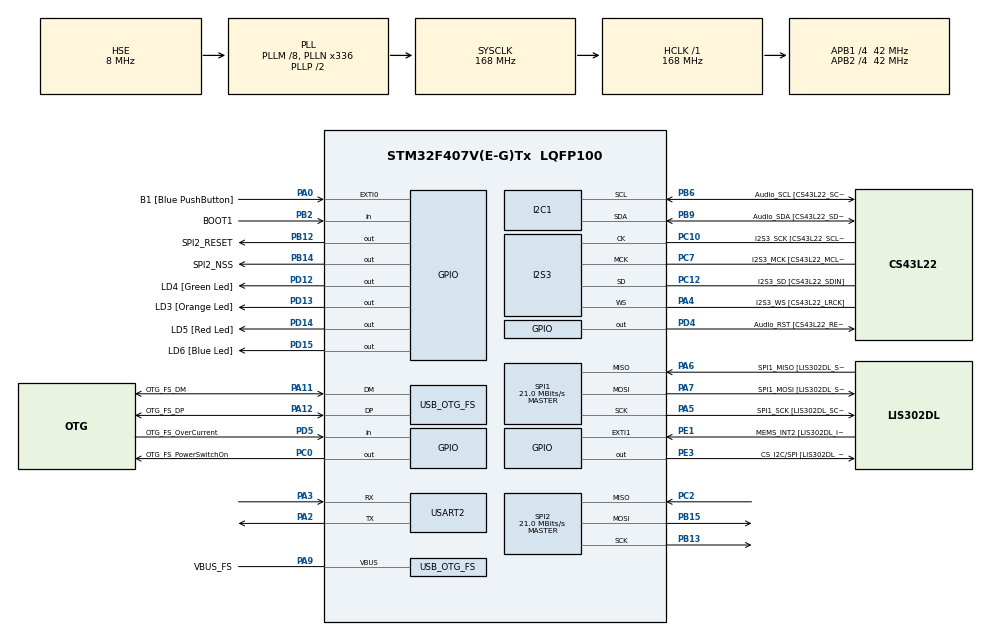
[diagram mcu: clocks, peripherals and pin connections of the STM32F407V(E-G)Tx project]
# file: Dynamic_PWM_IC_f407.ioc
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Dma.Request0=USART2_RX
Dma.USART2_RX.0.Direction=DMA_PERIPH_TO_MEMORY
Dma.USART2_RX.0.FIFOMode=DMA_FIFOMODE_DISABLE
Dma.USART2_RX.0.Instance=DMA1_Stream5
Dma.USART2_RX.0.MemDataAlignment=DMA_MDATAALIGN_BYTE
Dma.USART2_RX.0.MemInc=DMA_MINC_ENABLE
Dma.USART2_RX.0.Mode=DMA_CIRCULAR
Dma.USART2_RX.0.PeriphDataAlignment=DMA_PDATAALIGN_BYTE
Dma.USART2_RX.0.PeriphInc=DMA_PINC_DISABLE
Dma.USART2_RX.0.Priority=DMA_PRIORITY_LOW
I2S3.AudioFreq-Half_Duplex_Master=I2S_AUDIOFREQ_96K
I2S3.ErrorAudioFreq=-2.34 %
I2S3.ErrorAudioFreq-Half_Duplex_Master=0.8 %
I2S3.FullDuplexMode=I2S_FULLDUPLEXMODE_DISABLE
I2S3.Instance=SPI$Index
I2S3.RealAudioFreq=93.75 KHz
I2S3.RealAudioFreq-Half_Duplex_Master=96.774 KHz
I2S3.VirtualMode=I2S_MODE_MASTER
Mcu.Family=STM32F4
Mcu.Name=STM32F407V(E-G)Tx
Mcu.Package=LQFP100
NVIC.DMA1_Stream5_IRQn=true\:0\:0\:false\:false\:true\:false\:true\:true
NVIC.OTG_FS_IRQn=true\:0\:0\:false\:false\:true\:true\:true\:true
NVIC.PriorityGroup=NVIC_PRIORITYGROUP_0
NVIC.TIM1_BRK_TIM9_IRQn=true\:0\:0\:false\:false\:true\:true\:true\:true
NVIC.TIM1_CC_IRQn=true\:0\:0\:false\:false\:true\:true\:true\:true
NVIC.TIM1_TRG_COM_TIM11_IRQn=true\:0\:0\:false\:false\:true\:true\:true\:true
NVIC.TIM1_UP_TIM10_IRQn=true\:0\:0\:false\:false\:true\:true\:true\:true
NVIC.TIM2_IRQn=true\:0\:0\:false\:false\:true\:true\:true\:true
NVIC.TIM3_IRQn=true\:0\:0\:false\:false\:true\:true\:true\:true
NVIC.TIM4_IRQn=true\:0\:0\:false\:false\:true\:true\:true\:true
NVIC.TIM5_IRQn=true\:0\:0\:false\:false\:true\:true\:true\:true
NVIC.TIM8_BRK_TIM12_IRQn=true\:0\:0\:false\:false\:true\:true\:true\:true
NVIC.TIM8_CC_IRQn=true\:0\:0\:false\:false\:true\:true\:true\:true
NVIC.TIM8_TRG_COM_TIM14_IRQn=true\:0\:0\:false\:false\:true\:true\:true\:true
NVIC.TIM8_UP_TIM13_IRQn=true\:0\:0\:false\:false\:true\:true\:true\:true
NVIC.USART2_IRQn=true\:0\:0\:false\:false\:true\:true\:true\:true
PA0-WKUP.GPIO_Label=B1 [Blue PushButton]
PA0-WKUP.GPIO_ModeDefaultEXTI=GPIO_MODE_EVT_RISING
PA0-WKUP.GPIO_PuPd=GPIO_NOPULL
PA0-WKUP.Signal=GPXTI0
PA10.GPIO_Label=OTG_FS_ID
PA10.GPIO_Mode=GPIO_MODE_AF_PP
PA10.GPIO_PuPd=GPIO_NOPULL
PA10.GPIO_Speed=GPIO_SPEED_FREQ_LOW
PA10.Signal=USB_OTG_FS_ID
PA11.GPIO_Label=OTG_FS_DM
PA11.GPIO_Mode=GPIO_MODE_AF_PP
PA11.GPIO_PuPd=GPIO_NOPULL
PA11.GPIO_Speed=GPIO_SPEED_FREQ_LOW
PA11.Mode=Device_Only
PA11.Signal=USB_OTG_FS_DM
PA12.GPIO_Label=OTG_FS_DP
PA12.GPIO_Mode=GPIO_MODE_AF_PP
PA12.GPIO_PuPd=GPIO_NOPULL
PA12.GPIO_Speed=GPIO_SPEED_FREQ_LOW
PA12.Mode=Device_Only
PA12.Signal=USB_OTG_FS_DP
PA13.GPIO_Label=SWDIO
PA13.Mode=Serial_Wire
PA13.Signal=SYS_JTMS-SWDIO
PA14.GPIO_Label=SWCLK
PA14.Mode=Serial_Wire
PA14.Signal=SYS_JTCK-SWCLK
PA2.Mode=Asynchronous
PA2.Signal=USART2_TX
PA3.Mode=Asynchronous
PA3.Signal=USART2_RX
PA4.GPIO_Label=I2S3_WS [CS43L22_LRCK]
PA4.GPIO_Mode=GPIO_MODE_AF_PP
PA4.GPIO_PuPd=GPIO_NOPULL
PA4.GPIO_Speed=GPIO_SPEED_FREQ_LOW
PA4.Mode=Half_Duplex_Master
PA4.Signal=I2S3_WS
PA5.GPIO_Label=SPI1_SCK [LIS302DL_SCL/SPC]
PA5.GPIO_Mode=GPIO_MODE_AF_PP
PA5.GPIO_PuPd=GPIO_NOPULL
PA5.GPIO_Speed=GPIO_SPEED_FREQ_LOW
PA5.Mode=Full_Duplex_Master
PA5.Signal=SPI1_SCK
PA6.GPIO_Label=SPI1_MISO [LIS302DL_SDO]
PA6.GPIO_Mode=GPIO_MODE_AF_PP
PA6.GPIO_PuPd=GPIO_NOPULL
PA6.GPIO_Speed=GPIO_SPEED_FREQ_LOW
PA6.Mode=Full_Duplex_Master
PA6.Signal=SPI1_MISO
PA7.GPIO_Label=SPI1_MOSI [LIS302DL_SDA/SDI/SDO]
PA7.GPIO_Mode=GPIO_MODE_AF_PP
PA7.GPIO_PuPd=GPIO_NOPULL
PA7.GPIO_Speed=GPIO_SPEED_FREQ_LOW
PA7.Mode=Full_Duplex_Master
PA7.Signal=SPI1_MOSI
PA9.GPIO_Label=VBUS_FS
PA9.GPIO_Mode=GPIO_MODE_INPUT
PA9.GPIO_PuPd=GPIO_NOPULL
PA9.Mode=Activate_VBUS
PA9.Signal=USB_OTG_FS_VBUS
PB10.GPIO_Label=CLK_IN [MP45DT02_CLK]
PB10.GPIO_Mode=GPIO_MODE_AF_PP
PB10.GPIO_PuPd=GPIO_NOPULL
PB10.GPIO_Speed=GPIO_SPEED_FREQ_LOW
PB10.Signal=I2S2_CK
PB12.GPIO_Label=SPI2_RESET
PB12.Signal=GPIO_Output
PB13.Mode=Full_Duplex_Master
PB13.Signal=SPI2_SCK
PB14.GPIO_Label=SPI2_NSS
PB14.Signal=GPIO_Output
PB15.Mode=Full_Duplex_Master
PB15.Signal=SPI2_MOSI
PB2.GPIO_Label=BOOT1
PB2.GPIO_Mode=GPIO_MODE_INPUT
PB2.GPIO_PuPd=GPIO_NOPULL
PB2.Signal=GPIO_Input
PB3.GPIO_Label=SWO
PB3.Signal=SYS_JTDO-SWO
PB6.GPIO_Label=Audio_SCL [CS43L22_SCL]
PB6.GPIO_Mode=GPIO_MODE_AF_OD
PB6.GPIO_Pu=GPIO_PULLUP
PB6.GPIO_PuPd=GPIO_NOPULL
PB6.GPIO_Speed=GPIO_SPEED_FREQ_LOW
PB6.Mode=I2C
PB6.Signal=I2C1_SCL
PB9.GPIO_Label=Audio_SDA [CS43L22_SDA]
PB9.GPIO_Mode=GPIO_MODE_AF_OD
PB9.GPIO_Pu=GPIO_PULLUP
PB9.GPIO_PuPd=GPIO_NOPULL
PB9.GPIO_Speed=GPIO_SPEED_FREQ_LOW
PB9.Mode=I2C
PB9.Signal=I2C1_SDA
PC0.GPIO_Label=OTG_FS_PowerSwitchOn
PC0.GPIO_PuPd=GPIO_NOPULL
PC0.GPIO_Speed=GPIO_SPEED_FREQ_LOW
PC0.PinState=GPIO_PIN_SET
PC0.Signal=GPIO_Output
PC10.GPIO_Label=I2S3_SCK [CS43L22_SCLK]
PC10.GPIO_Mode=GPIO_MODE_AF_PP
PC10.GPIO_PuPd=GPIO_NOPULL
PC10.GPIO_Speed=GPIO_SPEED_FREQ_LOW
PC10.Mode=Half_Duplex_Master
PC10.Signal=I2S3_CK
PC12.GPIO_Label=I2S3_SD [CS43L22_SDIN]
PC12.GPIO_Mode=GPIO_MODE_AF_PP
PC12.GPIO_PuPd=GPIO_NOPULL
PC12.GPIO_Speed=GPIO_SPEED_FREQ_LOW
PC12.Mode=Half_Duplex_Master
PC12.Signal=I2S3_SD
PC14-OSC32_IN.GPIO_Label=PC14-OSC32_IN
PC14-OSC32_IN.Mode=LSE-External-Oscillator
PC14-OSC32_IN.Signal=RCC_OSC32_IN
PC15-OSC32_OUT.GPIO_Label=PC15-OSC32_OUT
PC15-OSC32_OUT.Mode=LSE-External-Oscillator
PC15-OSC32_OUT.Signal=RCC_OSC32_OUT
PC2.Mode=Full_Duplex_Master
PC2.Signal=SPI2_MISO
PC3.GPIO_Label=PDM_OUT [MP45DT02_DOUT]
PC3.GPIO_Mode=GPIO_MODE_AF_PP
PC3.GPIO_PuPd=GPIO_NOPULL
PC3.GPIO_Speed=GPIO_SPEED_FREQ_LOW
PC3.Signal=I2S2_SD
PC7.GPIO_Label=I2S3_MCK [CS43L22_MCLK]
PC7.GPIO_Mode=GPIO_MODE_AF_PP
PC7.GPIO_PuPd=GPIO_NOPULL
PC7.GPIO_Speed=GPIO_SPEED_FREQ_LOW
PC7.Mode=Master_Clock_Activated
PC7.Signal=I2S3_MCK
PD12.GPIO_Label=LD4 [Green Led]
PD12.GPIO_PuPd=GPIO_NOPULL
PD12.GPIO_Speed=GPIO_SPEED_FREQ_LOW
PD12.Signal=GPIO_Output
PD13.GPIO_Label=LD3 [Orange Led]
PD13.GPIO_PuPd=GPIO_NOPULL
PD13.GPIO_Speed=GPIO_SPEED_FREQ_LOW
PD13.Signal=GPIO_Output
PD14.GPIO_Label=LD5 [Red Led]
PD14.GPIO_PuPd=GPIO_NOPULL
PD14.GPIO_Speed=GPIO_SPEED_FREQ_LOW
PD14.Signal=GPIO_Output
PD15.GPIO_Label=LD6 [Blue Led]
PD15.GPIO_PuPd=GPIO_NOPULL
PD15.GPIO_Speed=GPIO_SPEED_FREQ_LOW
PD15.Signal=GPIO_Output
PD4.GPIO_Label=Audio_RST [CS43L22_RESET]
PD4.GPIO_PuPd=GPIO_NOPULL
PD4.GPIO_Speed=GPIO_SPEED_FREQ_LOW
PD4.Signal=GPIO_Output
PD5.GPIO_Label=OTG_FS_OverCurrent
PD5.GPIO_Mode=GPIO_MODE_INPUT
PD5.GPIO_PuPd=GPIO_NOPULL
PD5.Signal=GPIO_Input
PE1.GPIO_Label=MEMS_INT2 [LIS302DL_INT2]
PE1.GPIO_ModeDefaultEXTI=GPIO_MODE_EVT_RISING
PE1.GPIO_PuPd=GPIO_NOPULL
PE1.Signal=GPXTI1
PE3.GPIO_Label=CS_I2C/SPI [LIS302DL_CS_I2C/SPI]
PE3.GPIO_PuPd=GPIO_NOPULL
PE3.GPIO_Speed=GPIO_SPEED_FREQ_LOW
PE3.Signal=GPIO_Output
PH0-OSC_IN.GPIO_Label=PH0-OSC_IN
PH0-OSC_IN.Mode=HSE-External-Oscillator
PH0-OSC_IN.Signal=RCC_OSC_IN
PH1-OSC_OUT.GPIO_Label=PH1-OSC_OUT
PH1-OSC_OUT.Mode=HSE-External-Oscillator
PH1-OSC_OUT.Signal=RCC_OSC_OUT
ProjectManager.HeapSize=0x200
ProjectManager.StackSize=0x400
ProjectManager.TargetToolchain=STM32CubeIDE
RCC.48MHZClocksFreq_Value=48000000
RCC.AHBFreq_Value=168000000
RCC.APB1CLKDivider=RCC_HCLK_DIV4
RCC.APB1Freq_Value=42000000
RCC.APB1TimFreq_Value=84000000
RCC.APB2CLKDivider=RCC_HCLK_DIV4
RCC.APB2Freq_Value=42000000
RCC.APB2TimFreq_Value=84000000
RCC.CortexFreq_Value=168000000
RCC.HCLKFreq_Value=168000000
RCC.HSE_VALUE=8000000
RCC.HSI_VALUE=16000000
RCC.PLLM=8
RCC.PLLN=336
RCC.PLLQ=7
RCC.SYSCLKFreq_VALUE=168000000
RCC.SYSCLKSource=RCC_SYSCLKSOURCE_PLLCLK
RCC.VCOOutputFreq_Value=336000000
SPI1.BaudRatePrescaler=SPI_BAUDRATEPRESCALER_2
SPI1.BaudRatePrescaler-Full_Duplex_Master=SPI_BAUDRATEPRESCALER_2
SPI1.CalculateBaudRate=21.0 MBits/s
SPI1.CalculateBaudRate-Full_Duplex_Master=42.0 MBits/s
SPI1.Direction=SPI_DIRECTION_2LINES
SPI1.Mode=SPI_MODE_MASTER
SPI1.Mode-Full_Duplex_Master=SPI_MODE_MASTER
SPI1.VirtualType=VM_MASTER
SPI2.BaudRatePrescaler=SPI_BAUDRATEPRESCALER_2
SPI2.CalculateBaudRate=21.0 MBits/s
SPI2.Direction=SPI_DIRECTION_2LINES
SPI2.Mode=SPI_MODE_MASTER
SPI2.VirtualType=VM_MASTER
USART2.VirtualMode=VM_ASYNC
USB_DEVICE.CLASS_NAME_FS=CDC
USB_DEVICE.VirtualMode-CDC_FS=Cdc
USB_DEVICE.VirtualModeFS=Cdc_FS
USB_OTG_FS.VirtualMode=Device_Only
VP_TIM12_VS_ClockSourceINT.Mode=Internal
VP_TIM1_VS_ClockSourceINT.Mode=Internal
VP_TIM2_VS_ClockSourceINT.Mode=Internal
VP_TIM3_VS_ClockSourceINT.Mode=Internal
VP_TIM4_VS_ClockSourceINT.Mode=Internal
VP_TIM5_VS_ClockSourceINT.Mode=Internal
VP_TIM8_VS_ClockSourceINT.Mode=Internal
VP_TIM9_VS_ClockSourceINT.Mode=Internal
VP_USB_DEVICE_VS_USB_DEVICE_CDC_FS.Mode=CDC_FS
board=STM32F407G-DISC1

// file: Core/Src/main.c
/* USER CODE BEGIN Header */
/**
  ******************************************************************************
  * @file           : main.c
  * @brief          : Main program body
  ******************************************************************************
  * @attention
  *
  * Copyright (c) 2026 STMicroelectronics.
  * All rights reserved.
  *
  * This software is licensed under terms that can be found in the LICENSE file
  * in the root directory of this software component.
  * If no LICENSE file comes with this software, it is provided AS-IS.
  *
  ******************************************************************************
  */
/* USER CODE END Header */
#include "main.h"
#include "usb_device.h"

/* USER CODE BEGIN Includes */
#include "command_handler.h"
#include "wizchip_port.h"
#include "socket.h"
/* USER CODE END Includes */

/* USER CODE BEGIN PD */
#define BUF_SIZE  64
/* USER CODE END PD */

I2C_HandleTypeDef hi2c1;

I2S_HandleTypeDef hi2s3;

SPI_HandleTypeDef hspi1;
SPI_HandleTypeDef hspi2;

TIM_HandleTypeDef htim1;
TIM_HandleTypeDef htim2;
TIM_HandleTypeDef htim3;
TIM_HandleTypeDef htim4;
TIM_HandleTypeDef htim5;
TIM_HandleTypeDef htim8;
TIM_HandleTypeDef htim9;
TIM_HandleTypeDef htim12;

UART_HandleTypeDef huart2;
DMA_HandleTypeDef hdma_usart2_rx;

void SystemClock_Config(void);
static void MX_GPIO_Init(void);
static void MX_DMA_Init(void);
static void MX_I2C1_Init(void);
static void MX_I2S3_Init(void);
static void MX_SPI1_Init(void);
static void MX_SPI2_Init(void);
static void MX_TIM1_Init(void);
static void MX_TIM2_Init(void);
static void MX_TIM3_Init(void);
static void MX_TIM4_Init(void);
static void MX_TIM5_Init(void);
static void MX_TIM8_Init(void);
static void MX_TIM9_Init(void);
static void MX_TIM12_Init(void);
static void MX_USART2_UART_Init(void);

/* USER CODE BEGIN 0 */
uint8_t last_connection_item;

//// USB
uint8_t USB_rx_data[BUF_SIZE];
uint32_t USB_rx_len;

// UART
uint8_t dma_uart2_rx_buf[BUF_SIZE];
uint8_t UART_rx_data[BUF_SIZE];
uint32_t UART_rx_len;

// W5500 UDP
void UDP_Receive_Handler(void);
void UDP_Send_Data(uint8_t *data, uint16_t len);
#define UDP_PORT  8080
uint8_t UDP_buf[BUF_SIZE];
uint16_t UDP_recv_len;
uint8_t UDP_remote_ip[4];
uint16_t UDP_remote_port;

// PWM variables
TIM_HandleTypeDef *last_PWM_htim;
uint32_t last_PWM_TIM_CHANNEL;
GPIO_TypeDef *last_PWM_GPIO_Port;
uint32_t last_PWM_Pin;
uint8_t last_PWM_Pinout;
uint8_t last_PWM_usetim;

// IC variables
TIM_HandleTypeDef *last_IC_htim;
uint32_t last_IC_TIM_CHANNEL;
GPIO_TypeDef *last_IC_GPIO_Port;
uint32_t last_IC_Pin;
uint8_t last_IC_Pinout;

// IC parameters
uint32_t IC_measure_buf[100];
uint8_t IC_measure_cnt=0;
uint8_t IC_avg = 1;
uint8_t IC_filter=0;	// 	none = 0, mean = 1, median = 2, min = 3, max = 4, Unknown = 5
uint16_t IC_timeout = 1000;

// debug
void print_UART2(const char *str){
	uint16_t len = (uint16_t) strlen(str);
	HAL_UART_Transmit(&huart2, (uint8_t*)str, len, 10);
}
/* USER CODE END 0 */

int main(void)
{

  /* MCU Configuration--------------------------------------------------------*/

  /* Reset of all peripherals, Initializes the Flash interface and the Systick. */
  HAL_Init();

  /* Configure the system clock */
  SystemClock_Config();

  /* Initialize all configured peripherals */
  MX_GPIO_Init();
  MX_DMA_Init();
  MX_I2C1_Init();
  MX_I2S3_Init();
  MX_SPI1_Init();
  MX_SPI2_Init();
  MX_TIM1_Init();
  MX_TIM2_Init();
  MX_TIM3_Init();
  MX_TIM4_Init();
  MX_TIM5_Init();
  MX_TIM8_Init();
  MX_TIM9_Init();
  MX_TIM12_Init();
  MX_USART2_UART_Init();
  MX_USB_DEVICE_Init();
  /* USER CODE BEGIN 2 */
  //Enable UART Interrupt for detect ending package receive
  __HAL_UART_ENABLE_IT(&huart2, UART_IT_IDLE);
  HAL_UART_Receive_DMA(&huart2, dma_uart2_rx_buf, BUF_SIZE);

  // Initial W5500 UDP socket connection
  W5500_Init();
  socket(0, Sn_MR_UDP, UDP_PORT, 0);
  /* USER CODE END 2 */

  /* Infinite loop */
  /* USER CODE BEGIN WHILE */
  while (1)
  {

	  	  UDP_Receive_Handler();

	  	  if (last_connection_item ==1){
	  		  Parse_package(USB_rx_data, USB_rx_len);
	  		  last_connection_item=0;
	  	  }
	  	  else if (last_connection_item ==2){
	  		  Parse_package(UART_rx_data, UART_rx_len);
	  		  last_connection_item=0;
	  	  }
	  	  else if (last_connection_item ==3){
	  		  Parse_package(UDP_buf, UDP_recv_len);
	  		  last_connection_item=0;
	  	  }
    /* USER CODE END WHILE */

  }
}

void SystemClock_Config(void)
{
  RCC_OscInitTypeDef RCC_OscInitStruct = {0};
  RCC_ClkInitTypeDef RCC_ClkInitStruct = {0};

  /** Configure the main internal regulator output voltage
  */
  __HAL_RCC_PWR_CLK_ENABLE();
  __HAL_PWR_VOLTAGESCALING_CONFIG(PWR_REGULATOR_VOLTAGE_SCALE1);

  /** Initializes the RCC Oscillators according to the specified parameters
  * in the RCC_OscInitTypeDef structure.
  */
  RCC_OscInitStruct.OscillatorType = RCC_OSCILLATORTYPE_HSE;
  RCC_OscInitStruct.HSEState = RCC_HSE_ON;
  RCC_OscInitStruct.PLL.PLLState = RCC_PLL_ON;
  RCC_OscInitStruct.PLL.PLLSource = RCC_PLLSOURCE_HSE;
  RCC_OscInitStruct.PLL.PLLM = 8;
  RCC_OscInitStruct.PLL.PLLN = 336;
  RCC_OscInitStruct.PLL.PLLP = RCC_PLLP_DIV2;
  RCC_OscInitStruct.PLL.PLLQ = 7;
  if (HAL_RCC_OscConfig(&RCC_OscInitStruct) != HAL_OK)
  {
    Error_Handler();
  }

  /** Initializes the CPU, AHB and APB buses clocks
  */
  RCC_ClkInitStruct.ClockType = RCC_CLOCKTYPE_HCLK|RCC_CLOCKTYPE_SYSCLK
                              |RCC_CLOCKTYPE_PCLK1|RCC_CLOCKTYPE_PCLK2;
  RCC_ClkInitStruct.SYSCLKSource = RCC_SYSCLKSOURCE_PLLCLK;
  RCC_ClkInitStruct.AHBCLKDivider = RCC_SYSCLK_DIV1;
  RCC_ClkInitStruct.APB1CLKDivider = RCC_HCLK_DIV4;
  RCC_ClkInitStruct.APB2CLKDivider = RCC_HCLK_DIV4;

  if (HAL_RCC_ClockConfig(&RCC_ClkInitStruct, FLASH_LATENCY_5) != HAL_OK)
  {
    Error_Handler();
  }
}

static void MX_I2C1_Init(void)
{

  hi2c1.Instance = I2C1;
  hi2c1.Init.ClockSpeed = 100000;
  hi2c1.Init.DutyCycle = I2C_DUTYCYCLE_2;
  hi2c1.Init.OwnAddress1 = 0;
  hi2c1.Init.AddressingMode = I2C_ADDRESSINGMODE_7BIT;
  hi2c1.Init.DualAddressMode = I2C_DUALADDRESS_DISABLE;
  hi2c1.Init.OwnAddress2 = 0;
  hi2c1.Init.GeneralCallMode = I2C_GENERALCALL_DISABLE;
  hi2c1.Init.NoStretchMode = I2C_NOSTRETCH_DISABLE;
  if (HAL_I2C_Init(&hi2c1) != HAL_OK)
  {
    Error_Handler();
  }

}

static void MX_I2S3_Init(void)
{

  hi2s3.Instance = SPI3;
  hi2s3.Init.Mode = I2S_MODE_MASTER_TX;
  hi2s3.Init.Standard = I2S_STANDARD_PHILIPS;
  hi2s3.Init.DataFormat = I2S_DATAFORMAT_16B;
  hi2s3.Init.MCLKOutput = I2S_MCLKOUTPUT_ENABLE;
  hi2s3.Init.AudioFreq = I2S_AUDIOFREQ_96K;
  hi2s3.Init.CPOL = I2S_CPOL_LOW;
  hi2s3.Init.ClockSource = I2S_CLOCK_PLL;
  hi2s3.Init.FullDuplexMode = I2S_FULLDUPLEXMODE_DISABLE;
  if (HAL_I2S_Init(&hi2s3) != HAL_OK)
  {
    Error_Handler();
  }

}

static void MX_SPI1_Init(void)
{

  /* SPI1 parameter configuration*/
  hspi1.Instance = SPI1;
  hspi1.Init.Mode = SPI_MODE_MASTER;
  hspi1.Init.Direction = SPI_DIRECTION_2LINES;
  hspi1.Init.DataSize = SPI_DATASIZE_8BIT;
  hspi1.Init.CLKPolarity = SPI_POLARITY_LOW;
  hspi1.Init.CLKPhase = SPI_PHASE_1EDGE;
  hspi1.Init.NSS = SPI_NSS_SOFT;
  hspi1.Init.BaudRatePrescaler = SPI_BAUDRATEPRESCALER_2;
  hspi1.Init.FirstBit = SPI_FIRSTBIT_MSB;
  hspi1.Init.TIMode = SPI_TIMODE_DISABLE;
  hspi1.Init.CRCCalculation = SPI_CRCCALCULATION_DISABLE;
  hspi1.Init.CRCPolynomial = 10;
  if (HAL_SPI_Init(&hspi1) != HAL_OK)
  {
    Error_Handler();
  }

}

static void MX_SPI2_Init(void)
{

  /* SPI2 parameter configuration*/
  hspi2.Instance = SPI2;
  hspi2.Init.Mode = SPI_MODE_MASTER;
  hspi2.Init.Direction = SPI_DIRECTION_2LINES;
  hspi2.Init.DataSize = SPI_DATASIZE_8BIT;
  hspi2.Init.CLKPolarity = SPI_POLARITY_LOW;
  hspi2.Init.CLKPhase = SPI_PHASE_1EDGE;
  hspi2.Init.NSS = SPI_NSS_SOFT;
  hspi2.Init.BaudRatePrescaler = SPI_BAUDRATEPRESCALER_2;
  hspi2.Init.FirstBit = SPI_FIRSTBIT_MSB;
  hspi2.Init.TIMode = SPI_TIMODE_DISABLE;
  hspi2.Init.CRCCalculation = SPI_CRCCALCULATION_DISABLE;
  hspi2.Init.CRCPolynomial = 10;
  if (HAL_SPI_Init(&hspi2) != HAL_OK)
  {
    Error_Handler();
  }

}

static void MX_TIM1_Init(void)
{

  TIM_ClockConfigTypeDef sClockSourceConfig = {0};
  TIM_MasterConfigTypeDef sMasterConfig = {0};

  htim1.Instance = TIM1;
  htim1.Init.Prescaler = 0;
  htim1.Init.CounterMode = TIM_COUNTERMODE_UP;
  htim1.Init.Period = 65535;
  htim1.Init.ClockDivision = TIM_CLOCKDIVISION_DIV1;
  htim1.Init.RepetitionCounter = 0;
  htim1.Init.AutoReloadPreload = TIM_AUTORELOAD_PRELOAD_DISABLE;
  if (HAL_TIM_Base_Init(&htim1) != HAL_OK)
  {
    Error_Handler();
  }
  sClockSourceConfig.ClockSource = TIM_CLOCKSOURCE_INTERNAL;
  if (HAL_TIM_ConfigClockSource(&htim1, &sClockSourceConfig) != HAL_OK)
  {
    Error_Handler();
  }
  sMasterConfig.MasterOutputTrigger = TIM_TRGO_RESET;
  sMasterConfig.MasterSlaveMode = TIM_MASTERSLAVEMODE_DISABLE;
  if (HAL_TIMEx_MasterConfigSynchronization(&htim1, &sMasterConfig) != HAL_OK)
  {
    Error_Handler();
  }

}

static void MX_TIM2_Init(void)
{

  TIM_ClockConfigTypeDef sClockSourceConfig = {0};
  TIM_MasterConfigTypeDef sMasterConfig = {0};

  htim2.Instance = TIM2;
  htim2.Init.Prescaler = 0;
  htim2.Init.CounterMode = TIM_COUNTERMODE_UP;
  htim2.Init.Period = 4294967295;
  htim2.Init.ClockDivision = TIM_CLOCKDIVISION_DIV1;
  htim2.Init.AutoReloadPreload = TIM_AUTORELOAD_PRELOAD_DISABLE;
  if (HAL_TIM_Base_Init(&htim2) != HAL_OK)
  {
    Error_Handler();
  }
  sClockSourceConfig.ClockSource = TIM_CLOCKSOURCE_INTERNAL;
  if (HAL_TIM_ConfigClockSource(&htim2, &sClockSourceConfig) != HAL_OK)
  {
    Error_Handler();
  }
  sMasterConfig.MasterOutputTrigger = TIM_TRGO_RESET;
  sMasterConfig.MasterSlaveMode = TIM_MASTERSLAVEMODE_DISABLE;
  if (HAL_TIMEx_MasterConfigSynchronization(&htim2, &sMasterConfig) != HAL_OK)
  {
    Error_Handler();
  }

}

static void MX_TIM3_Init(void)
{

  TIM_ClockConfigTypeDef sClockSourceConfig = {0};
  TIM_MasterConfigTypeDef sMasterConfig = {0};

  htim3.Instance = TIM3;
  htim3.Init.Prescaler = 0;
  htim3.Init.CounterMode = TIM_COUNTERMODE_UP;
  htim3.Init.Period = 65535;
  htim3.Init.ClockDivision = TIM_CLOCKDIVISION_DIV1;
  htim3.Init.AutoReloadPreload = TIM_AUTORELOAD_PRELOAD_DISABLE;
  if (HAL_TIM_Base_Init(&htim3) != HAL_OK)
  {
    Error_Handler();
  }
  sClockSourceConfig.ClockSource = TIM_CLOCKSOURCE_INTERNAL;
  if (HAL_TIM_ConfigClockSource(&htim3, &sClockSourceConfig) != HAL_OK)
  {
    Error_Handler();
  }
  sMasterConfig.MasterOutputTrigger = TIM_TRGO_RESET;
  sMasterConfig.MasterSlaveMode = TIM_MASTERSLAVEMODE_DISABLE;
  if (HAL_TIMEx_MasterConfigSynchronization(&htim3, &sMasterConfig) != HAL_OK)
  {
    Error_Handler();
  }

}

static void MX_TIM4_Init(void)
{

  TIM_ClockConfigTypeDef sClockSourceConfig = {0};
  TIM_MasterConfigTypeDef sMasterConfig = {0};

  htim4.Instance = TIM4;
  htim4.Init.Prescaler = 0;
  htim4.Init.CounterMode = TIM_COUNTERMODE_UP;
  htim4.Init.Period = 65535;
  htim4.Init.ClockDivision = TIM_CLOCKDIVISION_DIV1;
  htim4.Init.AutoReloadPreload = TIM_AUTORELOAD_PRELOAD_DISABLE;
  if (HAL_TIM_Base_Init(&htim4) != HAL_OK)
  {
    Error_Handler();
  }
  sClockSourceConfig.ClockSource = TIM_CLOCKSOURCE_INTERNAL;
  if (HAL_TIM_ConfigClockSource(&htim4, &sClockSourceConfig) != HAL_OK)
  {
    Error_Handler();
  }
  sMasterConfig.MasterOutputTrigger = TIM_TRGO_RESET;
  sMasterConfig.MasterSlaveMode = TIM_MASTERSLAVEMODE_DISABLE;
  if (HAL_TIMEx_MasterConfigSynchronization(&htim4, &sMasterConfig) != HAL_OK)
  {
    Error_Handler();
  }

}

static void MX_TIM5_Init(void)
{

  TIM_ClockConfigTypeDef sClockSourceConfig = {0};
  TIM_MasterConfigTypeDef sMasterConfig = {0};

  htim5.Instance = TIM5;
  htim5.Init.Prescaler = 0;
  htim5.Init.CounterMode = TIM_COUNTERMODE_UP;
  htim5.Init.Period = 4294967295;
  htim5.Init.ClockDivision = TIM_CLOCKDIVISION_DIV1;
  htim5.Init.AutoReloadPreload = TIM_AUTORELOAD_PRELOAD_DISABLE;
  if (HAL_TIM_Base_Init(&htim5) != HAL_OK)
  {
    Error_Handler();
  }
  sClockSourceConfig.ClockSource = TIM_CLOCKSOURCE_INTERNAL;
  if (HAL_TIM_ConfigClockSource(&htim5, &sClockSourceConfig) != HAL_OK)
  {
    Error_Handler();
  }
  sMasterConfig.MasterOutputTrigger = TIM_TRGO_RESET;
  sMasterConfig.MasterSlaveMode = TIM_MASTERSLAVEMODE_DISABLE;
  if (HAL_TIMEx_MasterConfigSynchronization(&htim5, &sMasterConfig) != HAL_OK)
  {
    Error_Handler();
  }

}

static void MX_TIM8_Init(void)
{

  TIM_ClockConfigTypeDef sClockSourceConfig = {0};
  TIM_MasterConfigTypeDef sMasterConfig = {0};

  htim8.Instance = TIM8;
  htim8.Init.Prescaler = 0;
  htim8.Init.CounterMode = TIM_COUNTERMODE_UP;
  htim8.Init.Period = 65535;
  htim8.Init.ClockDivision = TIM_CLOCKDIVISION_DIV1;
  htim8.Init.RepetitionCounter = 0;
  htim8.Init.AutoReloadPreload = TIM_AUTORELOAD_PRELOAD_DISABLE;
  if (HAL_TIM_Base_Init(&htim8) != HAL_OK)
  {
    Error_Handler();
  }
  sClockSourceConfig.ClockSource = TIM_CLOCKSOURCE_INTERNAL;
  if (HAL_TIM_ConfigClockSource(&htim8, &sClockSourceConfig) != HAL_OK)
  {
    Error_Handler();
  }
  sMasterConfig.MasterOutputTrigger = TIM_TRGO_RESET;
  sMasterConfig.MasterSlaveMode = TIM_MASTERSLAVEMODE_DISABLE;
  if (HAL_TIMEx_MasterConfigSynchronization(&htim8, &sMasterConfig) != HAL_OK)
  {
    Error_Handler();
  }

}

static void MX_TIM9_Init(void)
{

  TIM_ClockConfigTypeDef sClockSourceConfig = {0};

  htim9.Instance = TIM9;
  htim9.Init.Prescaler = 0;
  htim9.Init.CounterMode = TIM_COUNTERMODE_UP;
  htim9.Init.Period = 65535;
  htim9.Init.ClockDivision = TIM_CLOCKDIVISION_DIV1;
  htim9.Init.AutoReloadPreload = TIM_AUTORELOAD_PRELOAD_DISABLE;
  if (HAL_TIM_Base_Init(&htim9) != HAL_OK)
  {
    Error_Handler();
  }
  sClockSourceConfig.ClockSource = TIM_CLOCKSOURCE_INTERNAL;
  if (HAL_TIM_ConfigClockSource(&htim9, &sClockSourceConfig) != HAL_OK)
  {
    Error_Handler();
  }

}

static void MX_TIM12_Init(void)
{

  TIM_ClockConfigTypeDef sClockSourceConfig = {0};

  htim12.Instance = TIM12;
  htim12.Init.Prescaler = 0;
  htim12.Init.CounterMode = TIM_COUNTERMODE_UP;
  htim12.Init.Period = 65535;
  htim12.Init.ClockDivision = TIM_CLOCKDIVISION_DIV1;
  htim12.Init.AutoReloadPreload = TIM_AUTORELOAD_PRELOAD_DISABLE;
  if (HAL_TIM_Base_Init(&htim12) != HAL_OK)
  {
    Error_Handler();
  }
  sClockSourceConfig.ClockSource = TIM_CLOCKSOURCE_INTERNAL;
  if (HAL_TIM_ConfigClockSource(&htim12, &sClockSourceConfig) != HAL_OK)
  {
    Error_Handler();
  }

}

static void MX_USART2_UART_Init(void)
{

  huart2.Instance = USART2;
  huart2.Init.BaudRate = 115200;
  huart2.Init.WordLength = UART_WORDLENGTH_8B;
  huart2.Init.StopBits = UART_STOPBITS_1;
  huart2.Init.Parity = UART_PARITY_NONE;
  huart2.Init.Mode = UART_MODE_TX_RX;
  huart2.Init.HwFlowCtl = UART_HWCONTROL_NONE;
  huart2.Init.OverSampling = UART_OVERSAMPLING_16;
  if (HAL_UART_Init(&huart2) != HAL_OK)
  {
    Error_Handler();
  }

}

static void MX_DMA_Init(void)
{

  /* DMA controller clock enable */
  __HAL_RCC_DMA1_CLK_ENABLE();

  /* DMA interrupt init */
  /* DMA1_Stream5_IRQn interrupt configuration */
  HAL_NVIC_SetPriority(DMA1_Stream5_IRQn, 0, 0);
  HAL_NVIC_EnableIRQ(DMA1_Stream5_IRQn);

}

static void MX_GPIO_Init(void)
{
  GPIO_InitTypeDef GPIO_InitStruct = {0};

  /* GPIO Ports Clock Enable */
  __HAL_RCC_GPIOE_CLK_ENABLE();
  __HAL_RCC_GPIOC_CLK_ENABLE();
  __HAL_RCC_GPIOH_CLK_ENABLE();
  __HAL_RCC_GPIOA_CLK_ENABLE();
  __HAL_RCC_GPIOB_CLK_ENABLE();
  __HAL_RCC_GPIOD_CLK_ENABLE();

  /*Configure GPIO pin Output Level */
  HAL_GPIO_WritePin(CS_I2C_SPI_GPIO_Port, CS_I2C_SPI_Pin, GPIO_PIN_RESET);

  /*Configure GPIO pin Output Level */
  HAL_GPIO_WritePin(OTG_FS_PowerSwitchOn_GPIO_Port, OTG_FS_PowerSwitchOn_Pin, GPIO_PIN_SET);

  /*Configure GPIO pin Output Level */
  HAL_GPIO_WritePin(GPIOB, SPI2_RESET_Pin|SPI2_NSS_Pin, GPIO_PIN_RESET);

  /*Configure GPIO pin Output Level */
  HAL_GPIO_WritePin(GPIOD, LD4_Pin|LD3_Pin|LD5_Pin|LD6_Pin
                          |Audio_RST_Pin, GPIO_PIN_RESET);

  /*Configure GPIO pin : CS_I2C_SPI_Pin */
  GPIO_InitStruct.Pin = CS_I2C_SPI_Pin;
  GPIO_InitStruct.Mode = GPIO_MODE_OUTPUT_PP;
  GPIO_InitStruct.Pull = GPIO_NOPULL;
  GPIO_InitStruct.Speed = GPIO_SPEED_FREQ_LOW;
  HAL_GPIO_Init(CS_I2C_SPI_GPIO_Port, &GPIO_InitStruct);

  /*Configure GPIO pin : OTG_FS_PowerSwitchOn_Pin */
  GPIO_InitStruct.Pin = OTG_FS_PowerSwitchOn_Pin;
  GPIO_InitStruct.Mode = GPIO_MODE_OUTPUT_PP;
  GPIO_InitStruct.Pull = GPIO_NOPULL;
  GPIO_InitStruct.Speed = GPIO_SPEED_FREQ_LOW;
  HAL_GPIO_Init(OTG_FS_PowerSwitchOn_GPIO_Port, &GPIO_InitStruct);

  /*Configure GPIO pin : PDM_OUT_Pin */
  GPIO_InitStruct.Pin = PDM_OUT_Pin;
  GPIO_InitStruct.Mode = GPIO_MODE_AF_PP;
  GPIO_InitStruct.Pull = GPIO_NOPULL;
  GPIO_InitStruct.Speed = GPIO_SPEED_FREQ_LOW;
  GPIO_InitStruct.Alternate = GPIO_AF5_SPI2;
  HAL_GPIO_Init(PDM_OUT_GPIO_Port, &GPIO_InitStruct);

  /*Configure GPIO pin : B1_Pin */
  GPIO_InitStruct.Pin = B1_Pin;
  GPIO_InitStruct.Mode = GPIO_MODE_EVT_RISING;
  GPIO_InitStruct.Pull = GPIO_NOPULL;
  HAL_GPIO_Init(B1_GPIO_Port, &GPIO_InitStruct);

  /*Configure GPIO pin : BOOT1_Pin */
  GPIO_InitStruct.Pin = BOOT1_Pin;
  GPIO_InitStruct.Mode = GPIO_MODE_INPUT;
  GPIO_InitStruct.Pull = GPIO_NOPULL;
  HAL_GPIO_Init(BOOT1_GPIO_Port, &GPIO_InitStruct);

  /*Configure GPIO pin : CLK_IN_Pin */
  GPIO_InitStruct.Pin = CLK_IN_Pin;
  GPIO_InitStruct.Mode = GPIO_MODE_AF_PP;
  GPIO_InitStruct.Pull = GPIO_NOPULL;
  GPIO_InitStruct.Speed = GPIO_SPEED_FREQ_LOW;
  GPIO_InitStruct.Alternate = GPIO_AF5_SPI2;
  HAL_GPIO_Init(CLK_IN_GPIO_Port, &GPIO_InitStruct);

  /*Configure GPIO pins : SPI2_RESET_Pin SPI2_NSS_Pin */
  GPIO_InitStruct.Pin = SPI2_RESET_Pin|SPI2_NSS_Pin;
  GPIO_InitStruct.Mode = GPIO_MODE_OUTPUT_PP;
  GPIO_InitStruct.Pull = GPIO_NOPULL;
  GPIO_InitStruct.Speed = GPIO_SPEED_FREQ_LOW;
  HAL_GPIO_Init(GPIOB, &GPIO_InitStruct);

  /*Configure GPIO pins : LD4_Pin LD3_Pin LD5_Pin LD6_Pin
                           Audio_RST_Pin */
  GPIO_InitStruct.Pin = LD4_Pin|LD3_Pin|LD5_Pin|LD6_Pin
                          |Audio_RST_Pin;
  GPIO_InitStruct.Mode = GPIO_MODE_OUTPUT_PP;
  GPIO_InitStruct.Pull = GPIO_NOPULL;
  GPIO_InitStruct.Speed = GPIO_SPEED_FREQ_LOW;
  HAL_GPIO_Init(GPIOD, &GPIO_InitStruct);

  /*Configure GPIO pin : OTG_FS_OverCurrent_Pin */
  GPIO_InitStruct.Pin = OTG_FS_OverCurrent_Pin;
  GPIO_InitStruct.Mode = GPIO_MODE_INPUT;
  GPIO_InitStruct.Pull = GPIO_NOPULL;
  HAL_GPIO_Init(OTG_FS_OverCurrent_GPIO_Port, &GPIO_InitStruct);

  /*Configure GPIO pin : MEMS_INT2_Pin */
  GPIO_InitStruct.Pin = MEMS_INT2_Pin;
  GPIO_InitStruct.Mode = GPIO_MODE_EVT_RISING;
  GPIO_InitStruct.Pull = GPIO_NOPULL;
  HAL_GPIO_Init(MEMS_INT2_GPIO_Port, &GPIO_InitStruct);

}

/* USER CODE BEGIN 4 */
// UDP (W5500) functions
void UDP_Send_Data(uint8_t *data, uint16_t len)
{
    sendto(0, data, len, UDP_remote_ip, UDP_remote_port);
}

void UDP_Receive_Handler(void)
{
    uint16_t rx_len = 0;
    if (getSn_SR(0) == SOCK_UDP) {
        rx_len = getSn_RX_RSR(0);
        if (rx_len > 0) {
            if (rx_len > BUF_SIZE) rx_len = BUF_SIZE;
            UDP_recv_len = recvfrom(0, UDP_buf, rx_len, UDP_remote_ip, &UDP_remote_port);
            last_connection_item=3;
        }
    }
}

// PWM generate functions
void PWM_config(TIM_HandleTypeDef *htim, uint32_t TIM_CHANNEL, GPIO_TypeDef *GPIO_Port, uint32_t Pin, uint32_t freq, uint32_t duty){

	GPIO_InitTypeDef GPIO_InitStruct = {0};
	GPIO_InitStruct.Pin = Pin;
	GPIO_InitStruct.Mode = GPIO_MODE_AF_PP;
	GPIO_InitStruct.Speed = GPIO_SPEED_FREQ_HIGH;
	HAL_GPIO_Init(GPIO_Port, &GPIO_InitStruct);

	//add freq => prescaler, period, pulse conversion
	uint32_t timer_clock=84000000;
	uint32_t prescaler;
	uint32_t period;
	uint32_t pulse;
	for ( prescaler = 0; prescaler < 65536; prescaler ++){
		period = (timer_clock / (freq * (prescaler+1)))-1;
		if (period < 65536 && period > 0){
			break;
		}
	}
	// if calculate cant be done
	if (prescaler >= 65536 || period >= 65536){
		prescaler=0;
		period =1;
	}
	if (duty==100){pulse=period;}
	else{pulse = period*duty /100;}

	__HAL_TIM_SET_COUNTER(htim, 0);
	__HAL_TIM_SET_PRESCALER(htim, prescaler);
	__HAL_TIM_SET_AUTORELOAD(htim, period);

	TIM_OC_InitTypeDef sConfigOC = {0};
	sConfigOC.OCMode = TIM_OCMODE_PWM1;
	sConfigOC.Pulse = pulse;
	sConfigOC.OCPolarity = TIM_OCPOLARITY_HIGH;
	sConfigOC.OCFastMode = TIM_OCFAST_DISABLE;
	sConfigOC.OCIdleState = TIM_OCIDLESTATE_RESET;
	sConfigOC.OCNIdleState = TIM_OCNIDLESTATE_RESET;
	HAL_TIM_PWM_ConfigChannel(htim, &sConfigOC, TIM_CHANNEL);
	last_PWM_usetim=1;
}

void PWM_start(TIM_HandleTypeDef *htim, uint32_t TIM_CHANNEL){
	HAL_TIM_PWM_Start(htim, TIM_CHANNEL);
}

void PWM_stop(TIM_HandleTypeDef *htim, uint32_t TIM_CHANNEL){
	HAL_TIM_PWM_Stop(htim, TIM_CHANNEL);
}

// PWM Emulate generate functions
uint32_t PWM_EMU_cnt=0;
uint32_t PWM_EMU_period=0;
uint32_t PWM_EMU_pulse=1;

void PWM_EMU_config(TIM_HandleTypeDef *htim, GPIO_TypeDef *GPIO_Port, uint32_t Pin, uint32_t freq, uint8_t duty){

	GPIO_InitTypeDef GPIO_InitStruct = {0};
	GPIO_InitStruct.Pin = Pin;
	GPIO_InitStruct.Mode = GPIO_MODE_OUTPUT_PP;
	GPIO_InitStruct.Speed = GPIO_SPEED_FREQ_HIGH;
	HAL_GPIO_Init(GPIO_Port, &GPIO_InitStruct);

	PWM_EMU_cnt=0;

	//add freq => prescaler, period, pulse conversion
	uint32_t timer_clock=84000000;
	uint32_t prescaler;
	uint32_t period_complex;
	uint32_t TIM_period;
	for ( prescaler = 0; prescaler < 65536; prescaler ++){
		period_complex = (timer_clock / (freq * (prescaler+1)))-1;
		if (period_complex < 65536 && period_complex > 0){
			break;
		}
	}
	// if calculate cant be done
	if (prescaler >= 65536 || period_complex >= 65536){
		prescaler=0;
		period_complex =1;
	}
	TIM_period = period_complex/10;
	PWM_EMU_period = 10;
	if (duty==100){PWM_EMU_pulse=PWM_EMU_period;}
	else{PWM_EMU_pulse = PWM_EMU_period*duty /100;}

	HAL_TIM_Base_Stop_IT (htim);
	__HAL_TIM_SET_COUNTER(htim, 0);
	__HAL_TIM_SET_PRESCALER(htim, prescaler);
	__HAL_TIM_SET_AUTORELOAD(htim, TIM_period);
	last_PWM_usetim=0;
}

void PWM_EMU_start(TIM_HandleTypeDef *htim){
	HAL_TIM_Base_Start_IT (htim);
}

void PWM_EMU_stop(TIM_HandleTypeDef *htim){
	HAL_TIM_Base_Stop_IT (htim);
}

// Input Capture mode functions
void IC_config(TIM_HandleTypeDef *htim, uint32_t TIM_CHANNEL, GPIO_TypeDef *GPIO_Port, uint32_t Pin){
	GPIO_InitTypeDef GPIO_InitStruct = {0};
	GPIO_InitStruct.Pin = Pin;
	GPIO_InitStruct.Mode = GPIO_MODE_AF_PP;
	GPIO_InitStruct.Speed = GPIO_SPEED_FREQ_HIGH;
	HAL_GPIO_Init(GPIO_Port, &GPIO_InitStruct);
	HAL_TIM_IC_Init(htim);
	__HAL_TIM_SET_COUNTER(htim, 0);
	__HAL_TIM_SET_PRESCALER(htim, 83);
	__HAL_TIM_SET_AUTORELOAD(htim, 50000);
	TIM_IC_InitTypeDef sConfigIC = {0};
	sConfigIC.ICPolarity = TIM_INPUTCHANNELPOLARITY_RISING;
	sConfigIC.ICSelection = TIM_ICSELECTION_DIRECTTI;
	sConfigIC.ICPrescaler = TIM_ICPSC_DIV1;
	sConfigIC.ICFilter = 0;
	HAL_TIM_IC_ConfigChannel(htim, &sConfigIC, TIM_CHANNEL);
	HAL_TIM_IC_Start_IT(htim, TIM_CHANNEL);
}

int compare_uint32(const void* a, const void* b) {
    uint32_t arg1 = *(const uint32_t*)a;
    uint32_t arg2 = *(const uint32_t*)b;
    if (arg1 < arg2) return -1;
    if (arg1 > arg2) return 1;
    return 0;
}

uint32_t mean_filter(uint32_t data[100], uint8_t size) {
    if (size == 0) return 0;
    uint64_t sum = 0;
    for (uint8_t i = 0; i < size; i++) {
        sum += data[i];
    }
    return (uint32_t)(sum / size);
}

uint32_t median_filter(uint32_t data[100], uint8_t size) {
    if (size == 0) return 0;
    uint32_t temp[100];
    for (uint8_t i = 0; i < size; i++) {
        temp[i] = data[i];
    }
    qsort(temp, size, sizeof(uint32_t), compare_uint32);
    if (size % 2 == 0) {
        uint32_t mid1 = temp[size / 2 - 1];
        uint32_t mid2 = temp[size / 2];
        return (mid1 + mid2) / 2;
    } else {
        return temp[size / 2];
    }
}

uint32_t min_filter(uint32_t data[100], uint8_t size) {
    if (size == 0) return 0;
    uint32_t min_value = data[0];
    for (uint8_t i = 1; i < size; i++) {
        if (data[i] < min_value) {
            min_value = data[i];
        }
    }
    return min_value;
}

uint32_t max_filter(uint32_t data[100], uint8_t size) {
    if (size == 0) return 0;
    uint32_t max_value = data[0];
    for (uint8_t i = 1; i < size; i++) {
        if (data[i] > max_value) {
            max_value = data[i];
        }
    }
    return max_value;
}

uint32_t IC_freq(){
	uint32_t freq=0;

	if (IC_filter == 0){
		freq = IC_measure_buf[IC_measure_cnt];
	}
	else if (IC_filter == 1){
		freq = mean_filter(IC_measure_buf, IC_avg);
	}
	else if (IC_filter == 2){
		freq = median_filter(IC_measure_buf, IC_avg);
	}
	else if (IC_filter == 3){
		freq = min_filter(IC_measure_buf, IC_avg);
	}
	else if (IC_filter == 4){
		freq = max_filter(IC_measure_buf, IC_avg);
	}

	return freq;
}

// Input Capture Emulate mode functions
uint8_t IC_EMU_tim_cnt_flag=0;
uint16_t tim_cnt=0;
uint32_t freq;

void IC_EMU_config(TIM_HandleTypeDef *htim, GPIO_TypeDef *GPIO_Port, uint32_t Pin){
	  GPIO_InitTypeDef GPIO_InitStruct;
	  GPIO_InitStruct.Pin = Pin;
	  GPIO_InitStruct.Mode = GPIO_MODE_IT_RISING;
	  GPIO_InitStruct.Pull = GPIO_PULLDOWN;
	  HAL_GPIO_Init(GPIO_Port, &GPIO_InitStruct);
	  HAL_NVIC_SetPriority(EXTI0_IRQn, 0, 0);
	  HAL_NVIC_EnableIRQ(EXTI0_IRQn);
	  HAL_NVIC_SetPriority(EXTI1_IRQn, 0, 0);
	  HAL_NVIC_EnableIRQ(EXTI1_IRQn);
	  HAL_NVIC_SetPriority(EXTI2_IRQn, 0, 0);
	  HAL_NVIC_EnableIRQ(EXTI2_IRQn);
	  HAL_NVIC_SetPriority(EXTI3_IRQn, 0, 0);
	  HAL_NVIC_EnableIRQ(EXTI3_IRQn);
	  HAL_NVIC_SetPriority(EXTI4_IRQn, 0, 0);
	  HAL_NVIC_EnableIRQ(EXTI4_IRQn);
	  HAL_NVIC_SetPriority(EXTI9_5_IRQn, 0, 0);
	  HAL_NVIC_EnableIRQ(EXTI9_5_IRQn);
	  HAL_NVIC_SetPriority(EXTI15_10_IRQn, 0, 0);
	  HAL_NVIC_EnableIRQ(EXTI15_10_IRQn);
		__HAL_TIM_SET_COUNTER(htim, 0);
		__HAL_TIM_SET_PRESCALER(htim, 83);
		__HAL_TIM_SET_AUTORELOAD(htim, 50000);
	  HAL_TIM_Base_Start(htim);
}

void EXTI0_IRQHandler(void)
{
  HAL_GPIO_EXTI_IRQHandler(last_IC_Pin);
}
void EXTI1_IRQHandler(void)
{
  HAL_GPIO_EXTI_IRQHandler(last_IC_Pin);
}
void EXTI2_IRQHandler(void)
{
  HAL_GPIO_EXTI_IRQHandler(last_IC_Pin);
}
void EXTI3_IRQHandler(void)
{
  HAL_GPIO_EXTI_IRQHandler(last_IC_Pin);
}
void EXTI4_IRQHandler(void)
{
  HAL_GPIO_EXTI_IRQHandler(last_IC_Pin);
}
void EXTI9_5_IRQHandler(void)
{
	HAL_GPIO_EXTI_IRQHandler(last_IC_Pin);
}
void EXTI15_10_IRQHandler(void)
{
  HAL_GPIO_EXTI_IRQHandler(last_IC_Pin);
}

// GPIO Interrupt for IC_EMU
void HAL_GPIO_EXTI_Callback(uint16_t GPIO_Pin){
	if (GPIO_Pin == last_IC_Pin){
		if (IC_EMU_tim_cnt_flag){
			uint32_t period = last_IC_htim->Instance->CNT;
	    	if (IC_measure_cnt < IC_avg){
	        	IC_measure_buf[IC_measure_cnt] = 1000000 / period;
	        	if (IC_avg!=1){IC_measure_cnt++;}
	    	}
	    	else{
	    		IC_measure_cnt=0;
	    		IC_measure_buf[IC_measure_cnt] = 1000000 / period;
	    		IC_measure_cnt++;
	    	}
	    	IC_EMU_tim_cnt_flag^=1;
		}
		else {
			last_IC_htim->Instance->CNT= 0;
			IC_EMU_tim_cnt_flag^=1;
		}
	}
}

// TIM Interrupt for PWM_EMU
void HAL_TIM_PeriodElapsedCallback(TIM_HandleTypeDef *htim){
	if (htim == last_PWM_htim){
		// PWM_EMU generation
		if (PWM_EMU_cnt == PWM_EMU_period){
			PWM_EMU_cnt=0;
		}
		else if (PWM_EMU_cnt < PWM_EMU_pulse){
			HAL_GPIO_WritePin(last_PWM_GPIO_Port, last_PWM_Pin, 1);
			PWM_EMU_cnt++;
		}
		else {
			HAL_GPIO_WritePin(last_PWM_GPIO_Port, last_PWM_Pin, 0);
			PWM_EMU_cnt++;
		}
	}
}

// IC Interrupt for IC
void HAL_TIM_IC_CaptureCallback(TIM_HandleTypeDef *htim)
{
    if(htim == last_IC_htim)
    {
    	htim->Instance->CNT=0;
    	if (IC_measure_cnt < IC_avg){
        	IC_measure_buf[IC_measure_cnt] = 1000000 / HAL_TIM_ReadCapturedValue(last_IC_htim, last_IC_TIM_CHANNEL);
        	if (IC_avg!=1){IC_measure_cnt++;}
    	}
    	else{
    		IC_measure_cnt=0;
    		IC_measure_buf[IC_measure_cnt] = 1000000 / HAL_TIM_ReadCapturedValue(last_IC_htim, last_IC_TIM_CHANNEL);
    		IC_measure_cnt++;
    	}

    }
}
/* USER CODE END 4 */

void Error_Handler(void)
{
  __disable_irq();
  while (1)
  {
  }
}
